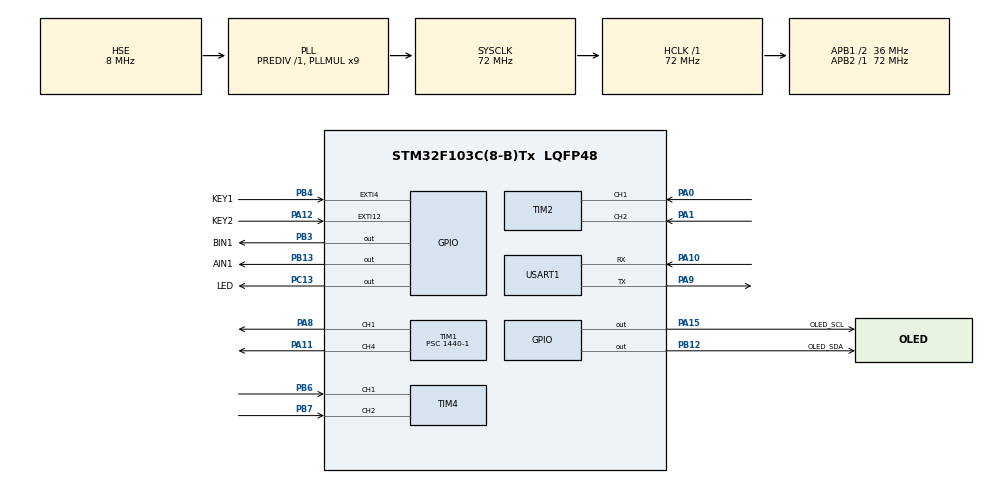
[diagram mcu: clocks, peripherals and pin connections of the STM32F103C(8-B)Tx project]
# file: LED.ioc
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Mcu.Family=STM32F1
Mcu.Name=STM32F103C(8-B)Tx
Mcu.Package=LQFP48
NVIC.EXTI15_10_IRQn=true\:0\:0\:false\:false\:true\:true\:true\:true
NVIC.EXTI4_IRQn=true\:0\:0\:false\:false\:true\:true\:true\:true
NVIC.PriorityGroup=NVIC_PRIORITYGROUP_4
NVIC.TIM1_UP_IRQn=true\:0\:0\:false\:false\:true\:true\:true\:true
NVIC.TIM2_IRQn=true\:0\:0\:false\:false\:true\:true\:true\:true
NVIC.TIM4_IRQn=true\:0\:0\:false\:false\:true\:true\:true\:true
PA0-WKUP.GPIO_PuPd=GPIO_PULLUP
PA0-WKUP.Signal=S_TIM2_CH1_ETR
PA1.GPIO_PuPd=GPIO_PULLUP
PA1.Signal=S_TIM2_CH2
PA10.Mode=Asynchronous
PA10.Signal=USART1_RX
PA11.Signal=S_TIM1_CH4
PA12.GPIO_Label=KEY2
PA12.GPIO_ModeDefaultEXTI=GPIO_MODE_IT_FALLING
PA12.GPIO_PuPd=GPIO_PULLUP
PA12.Signal=GPXTI12
PA13.Mode=Serial_Wire
PA13.Signal=SYS_JTMS-SWDIO
PA14.Mode=Serial_Wire
PA14.Signal=SYS_JTCK-SWCLK
PA15.GPIO_Label=OLED_SCL
PA15.GPIO_PuPd=GPIO_PULLUP
PA15.PinState=GPIO_PIN_SET
PA15.Signal=GPIO_Output
PA8.Signal=S_TIM1_CH1
PA9.Mode=Asynchronous
PA9.Signal=USART1_TX
PB12.GPIO_Label=OLED_SDA
PB12.GPIO_PuPd=GPIO_PULLUP
PB12.PinState=GPIO_PIN_SET
PB12.Signal=GPIO_Output
PB13.GPIO_Label=AIN1
PB13.Signal=GPIO_Output
PB3.GPIO_Label=BIN1
PB3.Signal=GPIO_Output
PB4.GPIO_Label=KEY1
PB4.GPIO_ModeDefaultEXTI=GPIO_MODE_IT_RISING
PB4.GPIO_PuPd=GPIO_PULLDOWN
PB4.Signal=GPXTI4
PB6.GPIO_PuPd=GPIO_PULLUP
PB6.Signal=S_TIM4_CH1
PB7.GPIO_PuPd=GPIO_PULLUP
PB7.Signal=S_TIM4_CH2
PC13-TAMPER-RTC.GPIO_Label=LED
PC13-TAMPER-RTC.Signal=GPIO_Output
PD0-OSC_IN.Mode=HSE-External-Oscillator
PD0-OSC_IN.Signal=RCC_OSC_IN
PD1-OSC_OUT.Mode=HSE-External-Oscillator
PD1-OSC_OUT.Signal=RCC_OSC_OUT
ProjectManager.HeapSize=0x200
ProjectManager.StackSize=0x400
ProjectManager.TargetToolchain=MDK-ARM V5.32
RCC.AHBFreq_Value=72000000
RCC.APB1CLKDivider=RCC_HCLK_DIV2
RCC.APB1Freq_Value=36000000
RCC.APB1TimFreq_Value=72000000
RCC.APB2Freq_Value=72000000
RCC.APB2TimFreq_Value=72000000
RCC.HCLKFreq_Value=72000000
RCC.PLLMUL=RCC_PLL_MUL9
RCC.PLLSourceVirtual=RCC_PLLSOURCE_HSE
RCC.SYSCLKFreq_VALUE=72000000
RCC.SYSCLKSource=RCC_SYSCLKSOURCE_PLLCLK
RCC.USBFreq_Value=72000000
SH.S_TIM1_CH1.0=TIM1_CH1,PWM Generation1 CH1
SH.S_TIM1_CH4.0=TIM1_CH4,PWM Generation4 CH4
SH.S_TIM2_CH1_ETR.0=TIM2_CH1,Encoder_Interface
SH.S_TIM2_CH2.0=TIM2_CH2,Encoder_Interface
SH.S_TIM4_CH1.0=TIM4_CH1,Encoder_Interface
SH.S_TIM4_CH2.0=TIM4_CH2,Encoder_Interface
TIM1.AutoReloadPreload=TIM_AUTORELOAD_PRELOAD_ENABLE
TIM1.Channel-PWM\ Generation1\ CH1=TIM_CHANNEL_1
TIM1.Channel-PWM\ Generation4\ CH4=TIM_CHANNEL_4
TIM1.Period=100-1
TIM1.Prescaler=1440-1
TIM1.Pulse-PWM\ Generation1\ CH1=50
TIM1.Pulse-PWM\ Generation4\ CH4=50
TIM2.EncoderMode=TIM_ENCODERMODE_TI12
TIM2.IC1Filter=6
TIM2.IC2Filter=6
TIM4.EncoderMode=TIM_ENCODERMODE_TI12
TIM4.IC1Filter=6
TIM4.IC2Filter=6
USART1.VirtualMode=VM_ASYNC
VP_TIM1_VS_ClockSourceINT.Mode=Internal
board=custom

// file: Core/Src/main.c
/* USER CODE BEGIN Header */
/**
  ******************************************************************************
  * @file           : main.c
  * @brief          : Main program body
  ******************************************************************************
  * @attention
  *
  * Copyright (c) 2022 STMicroelectronics.
  * All rights reserved.
  *
  * This software is licensed under terms that can be found in the LICENSE file
  * in the root directory of this software component.
  * If no LICENSE file comes with this software, it is provided AS-IS.
  *
  ******************************************************************************
  */
/* USER CODE END Header */
#include "main.h"
#include "tim.h"
#include "usart.h"
#include "gpio.h"

/* USER CODE BEGIN Includes */
#include "oled.h"
#include "stdio.h"
#include "motor.h"
/* USER CODE END Includes */

/* USER CODE BEGIN PM */
extern float Motor1Speed ;
extern float Motor2Speed ;
/* USER CODE END PM */

void SystemClock_Config(void);

int main(void)
{

  /* MCU Configuration--------------------------------------------------------*/

  /* Reset of all peripherals, Initializes the Flash interface and the Systick. */
  HAL_Init();

  /* Configure the system clock */
  SystemClock_Config();

  /* Initialize all configured peripherals */
  MX_GPIO_Init();
  MX_USART1_UART_Init();
  MX_TIM1_Init();
  MX_TIM2_Init();
  MX_TIM4_Init();
  /* USER CODE BEGIN 2 */
  OLED_Init();			//初始化OLED
  OLED_Clear()  	;
  HAL_TIM_PWM_Start(&htim1,TIM_CHANNEL_1);//开启定时器1 通道1 PWM输出
  HAL_TIM_PWM_Start(&htim1,TIM_CHANNEL_4);//开启定时器1 通道4 PWM输出
  HAL_TIM_Encoder_Start(&htim2,TIM_CHANNEL_ALL);//开启定时器2
  HAL_TIM_Encoder_Start(&htim4,TIM_CHANNEL_ALL);//开启定时器4
  HAL_TIM_Base_Start_IT(&htim2);				//开启定时器2 中断
  HAL_TIM_Base_Start_IT(&htim4);                //开启定时器4 中断

  HAL_TIM_Base_Start_IT(&htim1);                //开启定时器1 中断
  /* USER CODE END 2 */

  /* Infinite loop */
  while (1)
  {

    /* USER CODE BEGIN 3 */
//	OLED_ShowCHinese(0,0,0);//中
//	OLED_ShowCHinese(18,0,1);//景
//	OLED_ShowCHinese(36,0,2);//园
//	OLED_ShowCHinese(54,0,3);//电
//	OLED_ShowCHinese(72,0,4);//子
//	OLED_ShowCHinese(90,0,5);//科
//	OLED_ShowCHinese(108,0,6);//技
//	__HAL_TIM_SET_COMPARE(&htim1, TIM_CHANNEL_4, 0);
//    __HAL_TIM_SET_COMPARE(&htim1, TIM_CHANNEL_1, 90);
//    __HAL_TIM_SET_COMPARE(&htim1, TIM_CHANNEL_4, 90);
//	HAL_GPIO_WritePin(AIN1_GPIO_Port,AIN1_Pin,GPIO_PIN_RESET);
//	HAL_GPIO_WritePin(BIN1_GPIO_Port,BIN1_Pin,GPIO_PIN_RESET);

	Motor_Set(-40,-80);

	printf("Motor1Speed:%.2f\r\n",Motor1Speed);
	printf("Motor2Speed:%.2f\r\n",Motor2Speed);
	HAL_Delay(100);
//	__HAL_TIM_SET_COMPARE(&htim1, TIM_CHANNEL_1, 10);
//	__HAL_TIM_SET_COMPARE(&htim1, TIM_CHANNEL_4, 10);
//	HAL_GPIO_WritePin(BIN1_GPIO_Port,BIN1_Pin,GPIO_PIN_SET);
//	HAL_GPIO_WritePin(AIN1_GPIO_Port,AIN1_Pin,GPIO_PIN_SET);

//	uint8_t c_Data[] = "串口输出测试:好家伙VCC\r\n";
//	HAL_UART_Transmit(&huart1,c_Data,sizeof(c_Data),0xFFFF);
//	HAL_Delay(1000);
//	printf("printf:好家伙VCC测试\r\n");
//	HAL_GPIO_TogglePin(LED_GPIO_Port,LED_Pin);
//	HAL_Delay(500);

  }
  /* USER CODE END 3 */
}

void SystemClock_Config(void)
{
  RCC_OscInitTypeDef RCC_OscInitStruct = {0};
  RCC_ClkInitTypeDef RCC_ClkInitStruct = {0};

  /** Initializes the RCC Oscillators according to the specified parameters
  * in the RCC_OscInitTypeDef structure.
  */
  RCC_OscInitStruct.OscillatorType = RCC_OSCILLATORTYPE_HSE;
  RCC_OscInitStruct.HSEState = RCC_HSE_ON;
  RCC_OscInitStruct.HSEPredivValue = RCC_HSE_PREDIV_DIV1;
  RCC_OscInitStruct.HSIState = RCC_HSI_ON;
  RCC_OscInitStruct.PLL.PLLState = RCC_PLL_ON;
  RCC_OscInitStruct.PLL.PLLSource = RCC_PLLSOURCE_HSE;
  RCC_OscInitStruct.PLL.PLLMUL = RCC_PLL_MUL9;
  if (HAL_RCC_OscConfig(&RCC_OscInitStruct) != HAL_OK)
  {
    Error_Handler();
  }

  /** Initializes the CPU, AHB and APB buses clocks
  */
  RCC_ClkInitStruct.ClockType = RCC_CLOCKTYPE_HCLK|RCC_CLOCKTYPE_SYSCLK
                              |RCC_CLOCKTYPE_PCLK1|RCC_CLOCKTYPE_PCLK2;
  RCC_ClkInitStruct.SYSCLKSource = RCC_SYSCLKSOURCE_PLLCLK;
  RCC_ClkInitStruct.AHBCLKDivider = RCC_SYSCLK_DIV1;
  RCC_ClkInitStruct.APB1CLKDivider = RCC_HCLK_DIV2;
  RCC_ClkInitStruct.APB2CLKDivider = RCC_HCLK_DIV1;

  if (HAL_RCC_ClockConfig(&RCC_ClkInitStruct, FLASH_LATENCY_2) != HAL_OK)
  {
    Error_Handler();
  }
}

void Error_Handler(void)
{
  __disable_irq();
  while (1)
  {
  }
}
